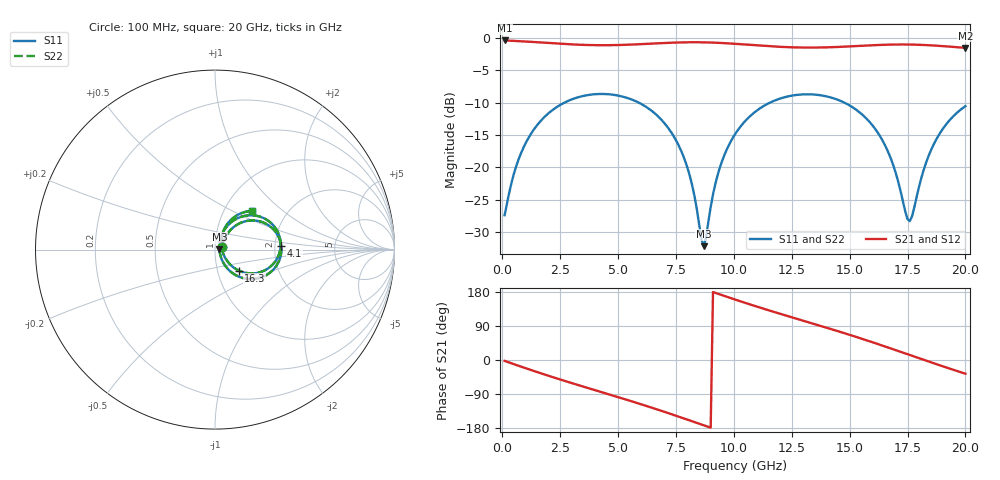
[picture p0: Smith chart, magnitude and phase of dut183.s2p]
! Touchstone file exported from HFSS 2026.1.0
!  File:  C:/ffzhzh/LocalFiles/Ansys_Project_Files/temp_train_TSV_RDL_183_1783057364_45820.aedt
!  Generated:  01:55:49 PM Jul  3, 2026
!  Design:  TSV_RDL
!  Project:  temp_train_TSV_RDL_183_1783057364_45820
! Variables:
!  h_bsmrdl = 2.66um
!  h_ox = 20um
!  h_rdl = 5um
!  h_sub = 99.58um
!  h_tmrdl = 5.6um
!  h_tsv = 99.58um
!  h_via = 3um
!  l_bsmrdl = 978.9um
!  l_sub = 6173.71um
!  l_tmrdl = 688.41um
!  m_sub = 200um
!  pitch = 29.64um
!  r_tsv = 10.78um
!  s_tmrdl = 10um
!  w_bsmrdl = 15.47um
!  w_sub = 500um
!  w_tmrdl = 12.32um
!  x_tsv_center1 = 694.57um
!  x_tsv_center2 = 1688.94um
!  x_tsv_center3 = 2389.67um
!  x_tsv_center4 = 3384.04um
!  x_tsv_center5 = 4084.77um
!  x_tsv_center6 = 5079.14um
# GHz S MA R 50.000000
! Terminal data exported
! Port[1] = TM_RDL1_1_T1
! Port[2] = TM_RDL5_1_T1
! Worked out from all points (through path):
!   200 points, 100 MHz to 20 GHz, reference 50 ohm
!   highest |S21| = -0.35 dB at 100 MHz (marker M1); lowest = -1.5 dB at 20 GHz (marker M2)
!   group delay of S21, straight-line fit = 54.6 ps
!   lowest |S11| = -32.2 dB at 8.7 GHz (marker M3), VSWR 1.05, Z = 52.5 + j0.275 ohm
!   |S11| at or under -10 dB: start of sweep to 2.672 GHz; 5.903 GHz to 11.55 GHz (5.645 GHz wide, 64.7 % of centre); 14.78 GHz to end of sweep
!   |S22| runs from -32.2 to -8.6 dB; largest |S21 - S12| = 1.7e-14
!   S11 on the Smith chart (normalised r, x): 100 MHz: 1.08, +0.03; 4.1 GHz: 2.16, +0.11; 16.3 GHz: 1.26, -0.30; 20 GHz: 1.35, +0.64
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0.1  0.04251 20.9  0.9608 -2.3  0.9608 -2.3  0.04251 20.9
! Gamma 0 0 0 0
! Port Impedance 50 0 50 0
0.6  0.1018 51.3  0.9517 -13.1  0.9517 -13.1  0.1018 51.3
1.3  0.1888 48.1  0.936 -27.7  0.936 -27.7  0.1888 48.1
2.3  0.2887 33.5  0.9108 -47.6  0.9108 -47.6  0.2887 33.5
3.5  0.3572 13.6  0.8879 -70.3  0.8879 -70.3  0.3572 13.6
4.1  0.3692 3.5  0.8831 -81.4  0.8831 -81.4  0.3692 3.5
5.5  0.3397 -20.3  0.8915 -107.3  0.8915 -107.3  0.3396 -20.3
6.8  0.2408 -42.6  0.9145 -132.7  0.9145 -132.7  0.2407 -42.6
7.9  0.1116 -57.5  0.9291 -155.4  0.9291 -155.4  0.1116 -57.4
8.2  0.07261 -56.5  0.9304 -161.7  0.9304 -161.7  0.0726 -56.3
8.7  0.02449 6.1  0.9289 -172.3  0.9289 -172.3  0.02468 6.3
9.3  0.08711 65.3  0.9214 175.1  0.9214 175.1  0.08722 65.2
10.1  0.1858 58.3  0.9039 158.6  0.9039 158.6  0.1859 58.3
11.7  0.3255 32.1  0.8633 127.5  0.8633 127.5  0.3255 32.2
13.4  0.3668 3.9  0.8461 96.3  0.8461 96.3  0.3668 4.0
14.9  0.3085 -20.8  0.8621 68.4  0.8621 68.4  0.3085 -20.7
16.3  0.1757 -41.6  0.8869 40.5  0.8869 40.5  0.1757 -41.3
16.7  0.127 -44.5  0.8917 32.1  0.8917 32.1  0.1271 -44.1
17.6  0.03826 14.8  0.8934 13.1  0.8934 13.1  0.039 14.9
18.2  0.09558 64.5  0.8865 0.4  0.8865 0.4  0.09599 64.2
18.6  0.1466 65.0  0.8788 -8.0  0.8788 -8.0  0.1469 64.8
20  0.2978 46.3  0.842 -36.1  0.842 -36.1  0.298 46.2
